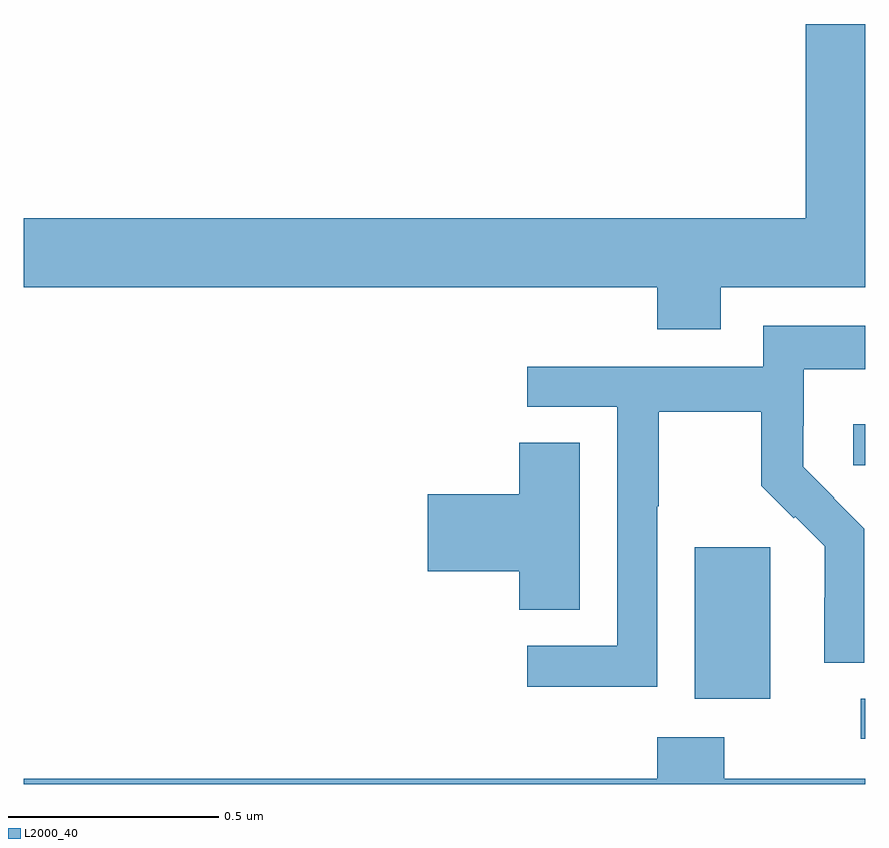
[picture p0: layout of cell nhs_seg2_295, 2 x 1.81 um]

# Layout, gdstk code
import gdstk
lib = gdstk.Library(unit=1e-6, precision=1e-09)
def R(c, l, rs):  # rectangles x0, y0, x1, y1
    for r in rs: c.add(gdstk.rectangle(r[:2], r[2:], *l))
def P(c, l, *ps):  # polygons
    for p in ps: c.add(gdstk.Polygon(p, *l))
L2000_40 = (2000, 40)

nhs_seg2_295 = lib.new_cell('nhs_seg2_295')
R(nhs_seg2_295, L2000_40, [(115.989,635.907,116,636.003), (115.595,636.002,115.774,636.363), (115.971,636.558,116,636.655)])
P(nhs_seg2_295, L2000_40, [(115.657,636.98),(116,636.98),(116,637.606),(115.859,637.606),(115.859,637.144),(114,637.144),(114,636.98),(115.505,636.98),(115.505,636.881),(115.657,636.881)],
  [(115.506,636.46),(115.509,636.46),(115.509,636.684),(115.753,636.684),(115.753,636.509),(115.83,636.432),(115.833,636.435),(115.904,636.365),(115.904,636.242),(115.902,636.242),(115.902,636.088),(115.998,636.088),(115.998,636.406),(115.925,636.479),(115.926,636.48),(115.852,636.554),(115.852,636.651),(115.854,636.651),(115.854,636.785),(116,636.785),(116,636.889),(115.758,636.889),(115.758,636.792),(115.197,636.792),(115.197,636.696),(115.41,636.696),(115.41,636.129),(115.197,636.129),(115.197,636.031),(115.506,636.031)],
  [(115.321,636.611),(115.178,636.611),(115.178,636.488),(114.96,636.488),(114.96,636.305),(115.178,636.305),(115.178,636.214),(115.321,636.214)],
  [(116,635.812),(115.665,635.812),(115.665,635.911),(115.505,635.911),(115.505,635.812),(114,635.812),(114,635.8),(116,635.8)])

lib.write_gds('nhs_seg2_295.gds')
